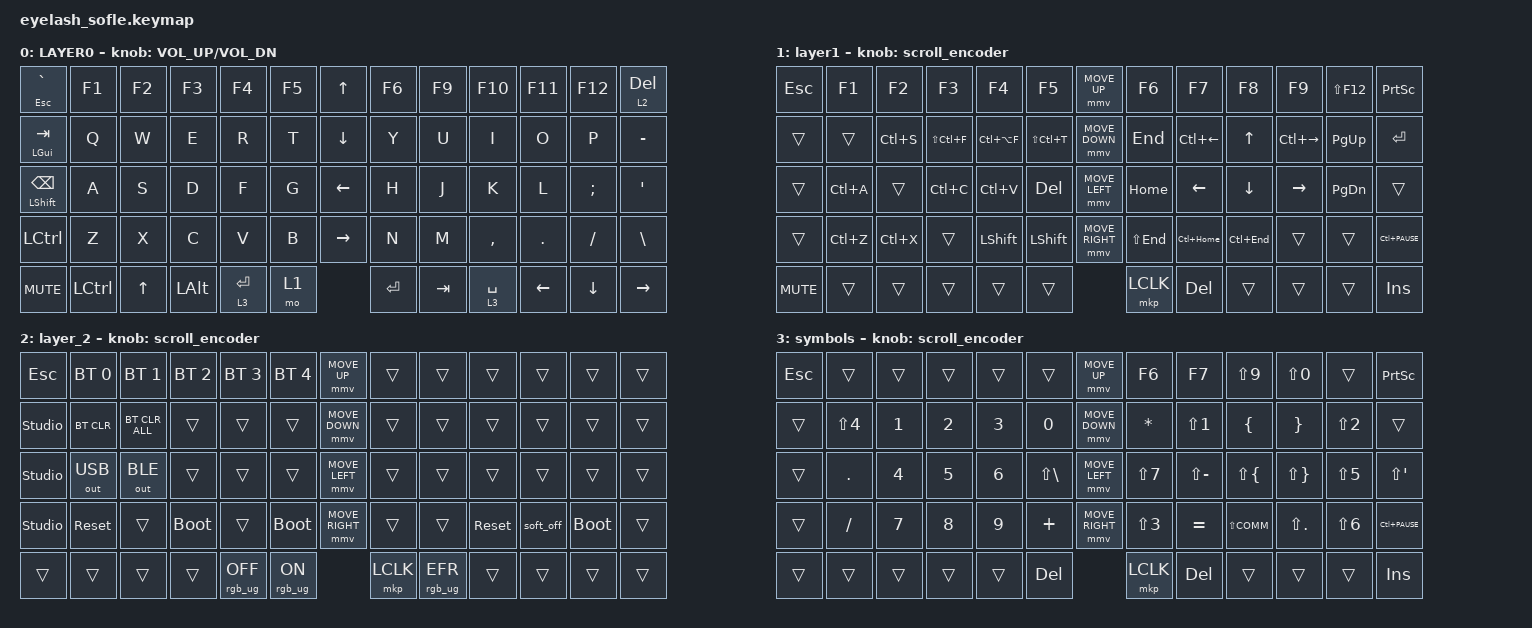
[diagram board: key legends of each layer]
#include <behaviors.dtsi>
#include <dt-bindings/zmk/bt.h>
#include <dt-bindings/zmk/keys.h>
#include <dt-bindings/zmk/mouse.h>
#include <dt-bindings/zmk/outputs.h>
#include <dt-bindings/zmk/rgb.h>

#include <input/processors.dtsi>

/*

   &mmv_input_listener {
       input-processors = <&zip_xy_scaler 2 1>;
   };

   &msc_input_listener {
       input-processors = <&zip_xy_scaler 2 1>;
   };

 */

#define ZMK_MOUSE_DEFAULT_MOVE_VAL 1200  // 600
#define ZMK_MOUSE_DEFAULT_SCRL_VAL 20    // 10

/ {
    behaviors {
        mmv {
            acceleration-exponent = <1>;      // 1
            time-to-max-speed-ms = <900>;    // 40
            delay-ms = <0>;                   // 0
        };

        msc {
            acceleration-exponent = <1>;      // 0
            time-to-max-speed-ms = <400>;      // 500
            delay-ms = <0>;                   //   10
        };       
    };

    macros {
        select_line: select_line {
            compatible = "zmk,behavior-macro";
            #binding-cells = <0>;
            wait-ms = <0>;
            tap-ms = <5>;
            bindings = <&kp HOME>, <&kp LS(END)>;
        };
        minh_email: minh_email {
            compatible = "zmk,behavior-macro";
            #binding-cells = <0>;
            wait-ms = <5>;
            tap-ms = <5>;
            bindings = 
                <&kp M &kp I &kp N &kp H &kp N &kp G &kp U &kp Y &kp E &kp N>
                , <&kp AT>
                , <&kp S &kp I &kp M &kp P &kp O &kp L &kp O &kp G &kp Y>
                , <&kp DOT>
                , <&kp C &kp O &kp M>
                , <&kp DOT>
                , <&kp A &kp U>
            ;
        };
    };

    scroll_encoder: scroll_encoder {
        compatible = "zmk,behavior-sensor-rotate";
        #sensor-binding-cells = <0>;
        bindings = <&msc SCRL_DOWN>, <&msc SCRL_UP>;

        tap-ms = <30>;
    };

    keymap {
        compatible = "zmk,keymap";

        layer0 {
            bindings = <
&mt ESC GRAVE           &kp F1     &kp F2        &kp F3        &kp F4  &kp F5       &kp UP_ARROW            &kp F6     &kp F9     &kp F10     &kp F11         &kp F12     &lt 2 DELETE
&mt LEFT_GUI TAB        &kp Q      &kp W         &kp E         &kp R   &kp T        &kp DOWN_ARROW          &kp Y      &kp U      &kp I      &kp O            &kp P       &kp MINUS
&mt LSHFT BSPC          &kp A      &kp S         &kp D         &kp F   &kp G        &kp LEFT_ARROW          &kp H      &kp J      &kp K      &kp L            &kp SEMI    &kp APOS
&kp LCTRL               &kp Z      &kp X         &kp C         &kp V   &kp B        &kp RIGHT_ARROW         &kp N      &kp M      &kp COMMA  &kp DOT          &kp FSLH    &kp BSLH
&kp C_MUTE  &kp LCTRL  &kp UP_ARROW  &kp LEFT_ALT  &lt 3 ENTER   &mo 1              &kp ENTER               &kp TAB  &lt 3 SPACE  &kp LEFT_ARROW      &kp DOWN_ARROW  &kp RIGHT_ARROW
            >;

            sensor-bindings = <&inc_dec_kp C_VOLUME_UP C_VOL_DN>;
            display-name = "LAYER0";
        };

        layer_1 {
            bindings = <
&kp ESC     &kp F1           &kp F2          &kp F3           &kp F4           &kp F5             &mmv MOVE_UP     &kp F6           &kp F7           &kp F8      &kp F9     &kp LS(F12)           &kp PSCRN
&trans      &trans           &kp LC(S)       &kp LS(LC(F))    &kp LC(LA(F))    &kp LS(LC(T))      &mmv MOVE_DOWN   &kp END         &kp LC(LEFT_ARROW)          &kp UP_ARROW      &kp LC(RIGHT_ARROW)   &kp PG_UP             &kp ENTER
&trans      &kp LC(A)        &trans          &kp LC(C)        &kp LC(V)        &kp DELETE         &mmv MOVE_LEFT   &kp HOME        &kp LEFT_ARROW              &kp DOWN_ARROW    &kp RIGHT_ARROW       &kp PG_DN  &trans
&trans      &kp LC(Z)        &kp LC(X)       &trans           &kp LSHFT        &kp LSHFT          &mmv MOVE_RIGHT  &kp LS(END)     &kp LC(HOME)  &kp LC(END)   &trans            &trans             &kp LC(PAUSE)
&kp C_MUTE  &trans           &trans          &trans           &trans           &trans             &mkp LCLK        &kp DELETE           &trans           &trans      &trans     &kp INSERT
            >;

            display-name = "layer1";
            sensor-bindings = <&scroll_encoder>;
        };

        layer_2 {
            bindings = <
&kp ESC  &bt BT_SEL 0  &bt BT_SEL 1    &bt BT_SEL 2  &bt BT_SEL 3  &bt BT_SEL 4    &mmv MOVE_UP    &trans   &trans &trans   &trans    &trans      &trans
&studio_unlock      &bt BT_CLR    &bt BT_CLR_ALL  &trans        &trans        &trans          &mmv MOVE_DOWN   &trans  &trans  &trans    &trans      &trans    &trans
&studio_unlock     &out OUT_USB  &out OUT_BLE    &trans        &trans        &trans          &mmv MOVE_LEFT   &trans  &trans  &trans      &trans     &trans    &trans
&studio_unlock     &sys_reset    &trans          &bootloader   &trans        &bootloader          &mmv MOVE_RIGHT  &trans  &trans  &sys_reset  &soft_off  &bootloader  &trans
&trans     &trans        &trans          &trans        &rgb_ug RGB_OFF        &rgb_ug RGB_ON          &mkp LCLK        &rgb_ug RGB_EFR  &trans  &trans      &trans     &trans
            >;

            sensor-bindings = <&scroll_encoder>;
        };

        layer_3 {
            bindings = <
&kp ESC    &trans     &trans     &trans     &trans     &trans                   &mmv MOVE_UP                          &kp F6            &kp F7             &kp LS(N9)         &kp LS(N0)          &trans            &kp PSCRN
&trans   &kp LS(N4)     &kp N1     &kp N2     &kp N3      &kp N0                &mmv MOVE_DOWN                        &kp STAR         &kp LS(N1)          &kp LBRC           &kp RBRC            &kp LS(N2)        &trans
&trans   &kp DOT        &kp N4     &kp N5     &kp N6      &kp LS(BSLH)          &mmv MOVE_LEFT                        &kp LS(N7)       &kp LS(MINUS)       &kp LS(LBRC)       &kp LS(RBRC)        &kp LS(N5)         &kp LS(SQT)
&trans   &kp FSLH       &kp N7     &kp N8     &kp N9      &kp PLUS              &mmv MOVE_RIGHT                       &kp LS(N3)       &kp EQUAL           &kp LS(COMM)       &kp LS(DOT)         &kp LS(N6)         &kp LC(PAUSE)
&trans    &trans        &trans     &trans     &trans     &kp DELETE             &mkp LCLK                             &kp DELETE            &trans      &trans         &trans         &kp INSERT
            >;      

            display-name = "symbols";
            sensor-bindings = <&scroll_encoder>;
        };        
    };
};
